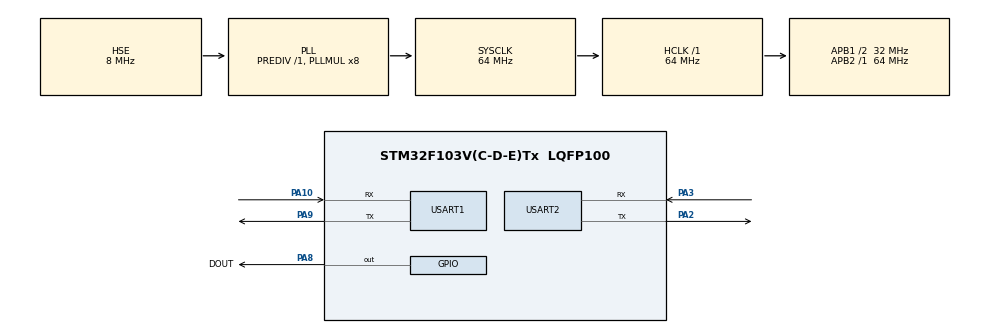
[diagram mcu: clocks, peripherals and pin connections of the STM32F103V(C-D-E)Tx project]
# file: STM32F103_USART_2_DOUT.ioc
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Dma.Request0=USART1_RX
Dma.Request1=USART1_TX
Dma.Request2=USART2_RX
Dma.Request3=USART2_TX
Dma.USART1_RX.0.Direction=DMA_PERIPH_TO_MEMORY
Dma.USART1_RX.0.Instance=DMA1_Channel5
Dma.USART1_RX.0.MemDataAlignment=DMA_MDATAALIGN_BYTE
Dma.USART1_RX.0.MemInc=DMA_MINC_ENABLE
Dma.USART1_RX.0.Mode=DMA_NORMAL
Dma.USART1_RX.0.PeriphDataAlignment=DMA_PDATAALIGN_BYTE
Dma.USART1_RX.0.PeriphInc=DMA_PINC_DISABLE
Dma.USART1_RX.0.Priority=DMA_PRIORITY_LOW
Dma.USART1_TX.1.Direction=DMA_MEMORY_TO_PERIPH
Dma.USART1_TX.1.Instance=DMA1_Channel4
Dma.USART1_TX.1.MemDataAlignment=DMA_MDATAALIGN_BYTE
Dma.USART1_TX.1.MemInc=DMA_MINC_ENABLE
Dma.USART1_TX.1.Mode=DMA_NORMAL
Dma.USART1_TX.1.PeriphDataAlignment=DMA_PDATAALIGN_BYTE
Dma.USART1_TX.1.PeriphInc=DMA_PINC_DISABLE
Dma.USART1_TX.1.Priority=DMA_PRIORITY_LOW
Dma.USART2_RX.2.Direction=DMA_PERIPH_TO_MEMORY
Dma.USART2_RX.2.Instance=DMA1_Channel6
Dma.USART2_RX.2.MemDataAlignment=DMA_MDATAALIGN_BYTE
Dma.USART2_RX.2.MemInc=DMA_MINC_ENABLE
Dma.USART2_RX.2.Mode=DMA_NORMAL
Dma.USART2_RX.2.PeriphDataAlignment=DMA_PDATAALIGN_BYTE
Dma.USART2_RX.2.PeriphInc=DMA_PINC_DISABLE
Dma.USART2_RX.2.Priority=DMA_PRIORITY_LOW
Dma.USART2_TX.3.Direction=DMA_MEMORY_TO_PERIPH
Dma.USART2_TX.3.Instance=DMA1_Channel7
Dma.USART2_TX.3.MemDataAlignment=DMA_MDATAALIGN_BYTE
Dma.USART2_TX.3.MemInc=DMA_MINC_ENABLE
Dma.USART2_TX.3.Mode=DMA_NORMAL
Dma.USART2_TX.3.PeriphDataAlignment=DMA_PDATAALIGN_BYTE
Dma.USART2_TX.3.PeriphInc=DMA_PINC_DISABLE
Dma.USART2_TX.3.Priority=DMA_PRIORITY_LOW
Mcu.Family=STM32F1
Mcu.Name=STM32F103V(C-D-E)Tx
Mcu.Package=LQFP100
NVIC.DMA1_Channel4_IRQn=true\:0\:0\:false\:false\:true\:false
NVIC.DMA1_Channel5_IRQn=true\:0\:0\:false\:false\:true\:false
NVIC.DMA1_Channel6_IRQn=true\:0\:0\:false\:false\:true\:false
NVIC.DMA1_Channel7_IRQn=true\:0\:0\:false\:false\:true\:false
NVIC.PriorityGroup=NVIC_PRIORITYGROUP_4
NVIC.USART1_IRQn=true\:0\:0\:false\:false\:true\:true
NVIC.USART2_IRQn=true\:0\:0\:false\:false\:true\:true
OSC_IN.Mode=HSE-External-Oscillator
OSC_IN.Signal=RCC_OSC_IN
OSC_OUT.Mode=HSE-External-Oscillator
OSC_OUT.Signal=RCC_OSC_OUT
PA10.Mode=Asynchronous
PA10.Signal=USART1_RX
PA13.Mode=Serial_Wire
PA13.Signal=SYS_JTMS-SWDIO
PA14.Mode=Serial_Wire
PA14.Signal=SYS_JTCK-SWCLK
PA2.Mode=Asynchronous
PA2.Signal=USART2_TX
PA3.Mode=Asynchronous
PA3.Signal=USART2_RX
PA8.GPIO_Label=DOUT
PA8.Signal=GPIO_Output
PA9.Mode=Asynchronous
PA9.Signal=USART1_TX
ProjectManager.HeapSize=0x200
ProjectManager.StackSize=0x400
ProjectManager.TargetToolchain=MDK-ARM V5
RCC.AHBFreq_Value=64000000
RCC.APB1CLKDivider=RCC_HCLK_DIV2
RCC.APB1Freq_Value=32000000
RCC.APB1TimFreq_Value=64000000
RCC.APB2Freq_Value=64000000
RCC.APB2TimFreq_Value=64000000
RCC.HCLKFreq_Value=64000000
RCC.PLLMUL=RCC_PLL_MUL8
RCC.PLLSourceVirtual=RCC_PLLSOURCE_HSE
RCC.SYSCLKFreq_VALUE=64000000
RCC.SYSCLKSource=RCC_SYSCLKSOURCE_PLLCLK
RCC.USBFreq_Value=64000000
USART1.VirtualMode=VM_ASYNC
USART2.VirtualMode=VM_ASYNC
board=STM32F103_USART_2_DOUT

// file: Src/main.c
/**
  ******************************************************************************
  * File Name          : main.c
  * Description        : Main program body
  ******************************************************************************
  ** This notice applies to any and all portions of this file
  * that are not between comment pairs USER CODE BEGIN and
  * USER CODE END. Other portions of this file, whether
  * inserted by the user or by software development tools
  * are owned by their respective copyright owners.
  *
  * COPYRIGHT(c) 2018 STMicroelectronics
  *
  * Redistribution and use in source and binary forms, with or without modification,
  * are permitted provided that the following conditions are met:
  *   1. Redistributions of source code must retain the above copyright notice,
  *      this list of conditions and the following disclaimer.
  *   2. Redistributions in binary form must reproduce the above copyright notice,
  *      this list of conditions and the following disclaimer in the documentation
  *      and/or other materials provided with the distribution.
  *   3. Neither the name of STMicroelectronics nor the names of its contributors
  *      may be used to endorse or promote products derived from this software
  *      without specific prior written permission.
  *
  * THIS SOFTWARE IS PROVIDED BY THE COPYRIGHT HOLDERS AND CONTRIBUTORS "AS IS"
  * AND ANY EXPRESS OR IMPLIED WARRANTIES, INCLUDING, BUT NOT LIMITED TO, THE
  * IMPLIED WARRANTIES OF MERCHANTABILITY AND FITNESS FOR A PARTICULAR PURPOSE ARE
  * DISCLAIMED. IN NO EVENT SHALL THE COPYRIGHT HOLDER OR CONTRIBUTORS BE LIABLE
  * FOR ANY DIRECT, INDIRECT, INCIDENTAL, SPECIAL, EXEMPLARY, OR CONSEQUENTIAL
  * DAMAGES (INCLUDING, BUT NOT LIMITED TO, PROCUREMENT OF SUBSTITUTE GOODS OR
  * SERVICES; LOSS OF USE, DATA, OR PROFITS; OR BUSINESS INTERRUPTION) HOWEVER
  * CAUSED AND ON ANY THEORY OF LIABILITY, WHETHER IN CONTRACT, STRICT LIABILITY,
  * OR TORT (INCLUDING NEGLIGENCE OR OTHERWISE) ARISING IN ANY WAY OUT OF THE USE
  * OF THIS SOFTWARE, EVEN IF ADVISED OF THE POSSIBILITY OF SUCH DAMAGE.
  *
  ******************************************************************************
  */

#include "main.h"
#include "stm32f1xx_hal.h"
#include "dma.h"
#include "usart.h"
#include "gpio.h"

/* USER CODE BEGIN PV */
/* Private variables ---------------------------------------------------------*/
#define TFMINI_DATA_Len             9
#define TFMINT_DATA_HEAD            0x59

//--------------<<< Use Configuration Wizard in Context Menu >>>---------------
//<h>   The Para Configuration
//      <o0> TFMINI_ACTION_DIST(0-65535, unit:cm)
//</h>
#define TFMINI_ACTION_DIST          200
//---------------<<< end of configuration section >>>--------------------------

extern DMA_HandleTypeDef hdma_usart1_rx;
extern DMA_HandleTypeDef hdma_usart2_rx;

uint8_t g_usart1_rx_buf[USART_BUF_SIZE] = {0};    /*usart1_rx_buf*/
uint8_t g_usart2_rx_buf[USART_BUF_SIZE] = {0};    /*usart2_rx_buf*/
/* USER CODE END PV */

void SystemClock_Config(void);

/* USER CODE BEGIN PFP */
/* Private function prototypes -----------------------------------------------*/

/* USER CODE END PFP */

int main(void)
{

  /* MCU Configuration----------------------------------------------------------*/

  /* Reset of all peripherals, Initializes the Flash interface and the Systick. */
  HAL_Init();

  /* Configure the system clock */
  SystemClock_Config();

  /* Initialize all configured peripherals */
  MX_GPIO_Init();
  MX_DMA_Init();
  MX_USART1_UART_Init();
  MX_USART2_UART_Init();

  /* USER CODE BEGIN 2 */
  HAL_UART_Receive_DMA(&huart1, g_usart1_rx_buf, USART_BUF_SIZE);
  HAL_UART_Receive_DMA(&huart2, g_usart2_rx_buf, USART_BUF_SIZE);

  __HAL_UART_ENABLE_IT(&huart1, UART_IT_IDLE);    //UART_IT_IDLE
  __HAL_UART_ENABLE_IT(&huart2, UART_IT_IDLE);    //UART_IT_IDLE

  printf("TFMini\r\n");
  printf("USART_2_DOUT\r\n");
  printf("Argement: 89Byte\r\n");
  printf("dist > %d cm, PA8 set Low;\r\ndist <= %d cm, PA8 set High.\r\n", TFMINI_ACTION_DIST, TFMINI_ACTION_DIST);
  /* USER CODE END 2 */

  /* Infinite loop */
  while (1)
  {

  }

}

/** System Clock Configuration
*/
void SystemClock_Config(void)
{

  RCC_OscInitTypeDef RCC_OscInitStruct;
  RCC_ClkInitTypeDef RCC_ClkInitStruct;

    /**Initializes the CPU, AHB and APB busses clocks
    */
  RCC_OscInitStruct.OscillatorType = RCC_OSCILLATORTYPE_HSE;
  RCC_OscInitStruct.HSEState = RCC_HSE_ON;
  RCC_OscInitStruct.HSEPredivValue = RCC_HSE_PREDIV_DIV1;
  RCC_OscInitStruct.HSIState = RCC_HSI_ON;
  RCC_OscInitStruct.PLL.PLLState = RCC_PLL_ON;
  RCC_OscInitStruct.PLL.PLLSource = RCC_PLLSOURCE_HSE;
  RCC_OscInitStruct.PLL.PLLMUL = RCC_PLL_MUL8;
  if (HAL_RCC_OscConfig(&RCC_OscInitStruct) != HAL_OK)
  {
    _Error_Handler(__FILE__, __LINE__);
  }

    /**Initializes the CPU, AHB and APB busses clocks
    */
  RCC_ClkInitStruct.ClockType = RCC_CLOCKTYPE_HCLK|RCC_CLOCKTYPE_SYSCLK
                              |RCC_CLOCKTYPE_PCLK1|RCC_CLOCKTYPE_PCLK2;
  RCC_ClkInitStruct.SYSCLKSource = RCC_SYSCLKSOURCE_PLLCLK;
  RCC_ClkInitStruct.AHBCLKDivider = RCC_SYSCLK_DIV1;
  RCC_ClkInitStruct.APB1CLKDivider = RCC_HCLK_DIV2;
  RCC_ClkInitStruct.APB2CLKDivider = RCC_HCLK_DIV1;

  if (HAL_RCC_ClockConfig(&RCC_ClkInitStruct, FLASH_LATENCY_2) != HAL_OK)
  {
    _Error_Handler(__FILE__, __LINE__);
  }

    /**Configure the Systick interrupt time
    */
  HAL_SYSTICK_Config(HAL_RCC_GetHCLKFreq()/1000);

    /**Configure the Systick
    */
  HAL_SYSTICK_CLKSourceConfig(SYSTICK_CLKSOURCE_HCLK);

  /* SysTick_IRQn interrupt configuration */
  HAL_NVIC_SetPriority(SysTick_IRQn, 0, 0);
}

/* USER CODE BEGIN 4 */
/*************************************************
Function: USART1_RX_Proc
Description: USART1_RX_Proc
Input:
    buf, data buffer
    len, data len
Output: None
Return: None
Others: TFMini output dist unit = cm;
*************************************************/
void USART1_RX_Proc(uint8_t *buf, uint32_t len)
{
    uint32_t i = 0;
    uint8_t chk_cal = 0;
    uint16_t cordist = 0;

    if(TFMINI_DATA_Len == len)
    {
        if((TFMINT_DATA_HEAD == buf[0])&&(TFMINT_DATA_HEAD == buf[1]))
        {
            for(i = 0; i < (TFMINI_DATA_Len - 1); i++)
            {
                chk_cal += buf[i];
            }

            if(chk_cal == buf[TFMINI_DATA_Len - 1])
            {
                cordist = buf[2] | (buf[3] << 8);

                /*cordist > TFMINI_ACTION_DIST cm, PA8 set Low;
                  cordist <= TFMINI_ACTION_DIST cm, PA8 set High.*/
                if(HAL_GPIO_ReadPin(DOUT_GPIO_Port, DOUT_Pin) != GPIO_PIN_RESET)
                {
                    if(cordist > TFMINI_ACTION_DIST)
                    {
                        HAL_GPIO_WritePin(DOUT_GPIO_Port, DOUT_Pin, GPIO_PIN_RESET);
                    }
                }
                else
                {
                    if(cordist <= TFMINI_ACTION_DIST)
                    {
                        HAL_GPIO_WritePin(DOUT_GPIO_Port, DOUT_Pin, GPIO_PIN_SET);
                    }
                }
            }
        }
    }
}

/*************************************************
Function: USART2_RX_Proc
Description: USART2_RX_Proc
Input:
    buf, data buffer
    len, data len
Output: None
Return: None
Others:
*************************************************/
void USART2_RX_Proc(uint8_t *buf, uint32_t len)
{

}
/* USER CODE END 4 */

void _Error_Handler(char * file, int line)
{
  /* USER CODE BEGIN Error_Handler_Debug */
  /* User can add his own implementation to report the HAL error return state */
  while(1)
  {
    printf("_Error_Handler\r\nFile_Name:%s,line:%d",file, line);
  }
  /* USER CODE END Error_Handler_Debug */
}

/************************ (C) COPYRIGHT STMicroelectronics *****END OF FILE****/
